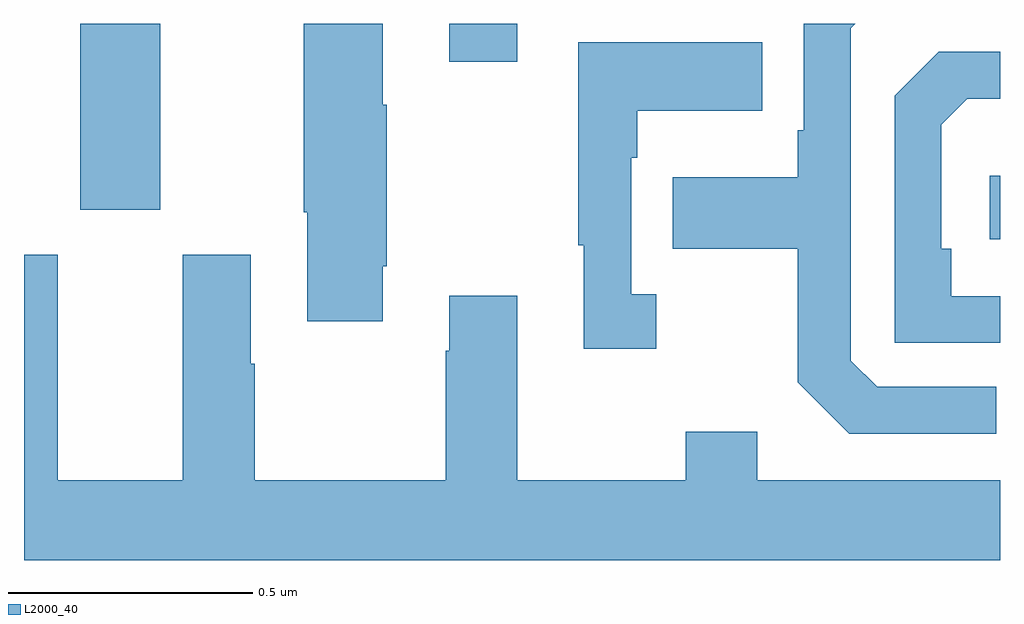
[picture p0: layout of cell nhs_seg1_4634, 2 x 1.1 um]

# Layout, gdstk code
import gdstk
lib = gdstk.Library(unit=1e-6, precision=1e-09)
def R(c, l, rs):  # rectangles x0, y0, x1, y1
    for r in rs: c.add(gdstk.rectangle(r[:2], r[2:], *l))
def P(c, l, *ps):  # polygons
    for p in ps: c.add(gdstk.Polygon(p, *l))
L2000_40 = (2000, 40)

nhs_seg1_4634 = lib.new_cell('nhs_seg1_4634')
R(nhs_seg1_4634, L2000_40, [(170.979,517.758,171,517.888), (169.115,517.818,169.279,518.199), (169.871,518.121,170.011,518.199)])
P(nhs_seg1_4634, L2000_40, [(170.992,517.455),(170.748,517.455),(170.694,517.509),(170.694,518.19),(170.703,518.199),(170.598,518.199),(170.598,517.981),(170.586,517.981),(170.586,517.885),(170.329,517.885),(170.329,517.738),(170.586,517.738),(170.586,517.465),(170.691,517.359),(170.992,517.359)],
  [(169.735,517.702),(169.743,517.702),(169.743,518.033),(169.735,518.033),(169.735,518.199),(169.573,518.199),(169.573,517.813),(169.58,517.813),(169.58,517.59),(169.735,517.59)],
  [(170.296,517.645),(170.244,517.645),(170.244,517.925),(170.257,517.925),(170.257,518.021),(170.513,518.021),(170.513,518.161),(170.136,518.161),(170.136,517.745),(170.147,517.745),(170.147,517.533),(170.296,517.533)],
  [(171,517.641),(170.9,517.641),(170.9,517.738),(170.88,517.738),(170.88,517.992),(170.933,518.045),(171,518.045),(171,518.142),(170.874,518.142),(170.784,518.052),(170.784,517.545),(171,517.545)],
  [(171,517.264),(170.503,517.264),(170.503,517.363),(170.356,517.363),(170.356,517.264),(170.011,517.264),(170.011,517.642),(169.871,517.642),(169.871,517.529),(169.864,517.529),(169.864,517.264),(169.473,517.264),(169.473,517.502),(169.465,517.502),(169.465,517.726),(169.325,517.726),(169.325,517.264),(169.069,517.264),(169.069,517.726),(169,517.726),(169,517.1),(171,517.1)])

lib.write_gds('nhs_seg1_4634.gds')
